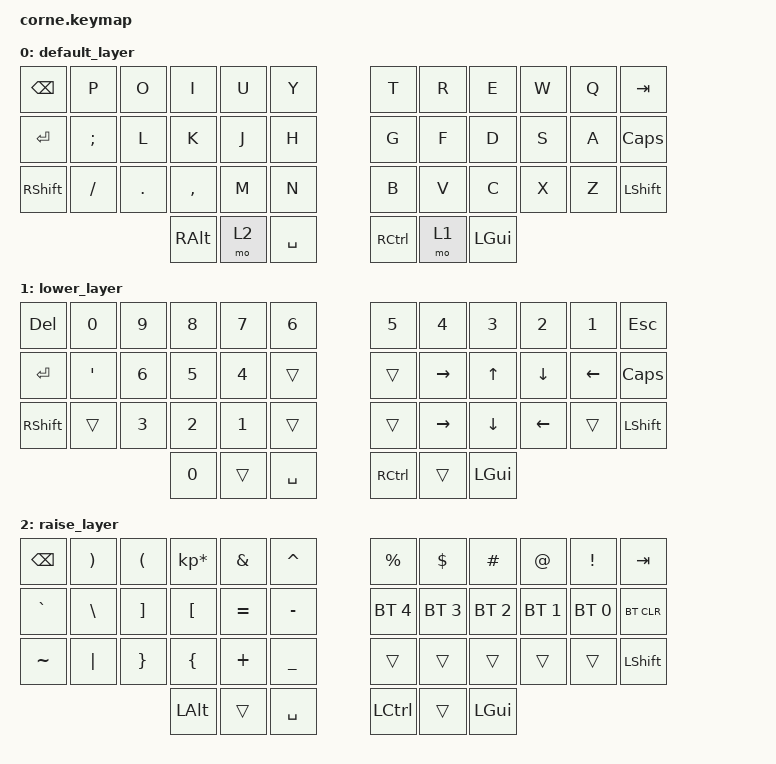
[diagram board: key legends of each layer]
/*
 * Copyright (c) 2020 The ZMK Contributors
 *
 * SPDX-License-Identifier: MIT
 */

#include <behaviors.dtsi>
#include <dt-bindings/zmk/keys.h>
#include <dt-bindings/zmk/bt.h>

/ {
        keymap {
                compatible = "zmk,keymap";

                default_layer {
// -----------------------------------------------------------------------------------------
// |  TAB |  Q  |  W  |  E  |  R  |  T  |   |  Y  |  U   |  I  |  O  |  P  | BKSP |
// | CTRL |  A  |  S  |  D  |  F  |  G  |   |  H  |  J   |  K  |  L  |  ;  |  '   |
// | SHFT |  Z  |  X  |  C  |  V  |  B  |   |  N  |  M   |  ,  |  .  |  /  | ESC  |
//                    | GUI | LWR | SPC |   | ENT | RSE  | ALT |
                        bindings = <
   &kp BSPC  &kp P    &kp O   &kp I     &kp U &kp Y      &kp T     &kp R &kp E &kp W &kp Q &kp TAB
   &kp RET   &kp SEMI &kp L   &kp K     &kp J &kp H      &kp G     &kp F &kp D &kp S &kp A &kp CAPS
   &kp RSHFT &kp FSLH &kp DOT &kp COMMA &kp M &kp N      &kp B     &kp V &kp C &kp X &kp Z &kp LSHFT
                           &kp RALT &mo 2 &kp SPACE      &kp RCTRL &mo 1 &kp LGUI
                        >;
                };
                lower_layer {
// -----------------------------------------------------------------------------------------
// |  TAB |  1  |  2  |  3  |  4  |  5  |   |  6  |  7  |  8  |  9  |  0  | BKSP |
// | BTCLR| BT1 | BT2 | BT3 | BT4 | BT5 |   | LFT | DWN |  UP | RGT |     |      |
// | SHFT |     |     |     |     |     |   |     |     |     |     |     |      |
//                    | GUI |     | SPC |   | ENT |     | ALT |
                        bindings = <
   &kp DEL   &kp N0   &kp N9 &kp N8 &kp N7 &kp N6       &kp N5  &kp N4    &kp N3   &kp N2   &kp N1   &kp ESC
   &kp RET   &kp APOS &kp N6 &kp N5 &kp N4 &trans       &trans  &kp RIGHT &kp UP   &kp DOWN &kp LEFT &kp CAPS
   &kp RSHFT &trans   &kp N3 &kp N2 &kp N1 &trans       &trans  &kp RIGHT &kp DOWN &kp LEFT &trans   &kp LSHFT
                          &kp N0 &trans &kp SPACE       &kp RCTRL &trans &kp LGUI
                        >;
                };
                raise_layer {
// -----------------------------------------------------------------------------------------
// |  TAB |  !  |  @  |  #  |  $  |  %  |   |  ^  |  &  |  *  |  (  |  )  | BKSP |
// | CTRL |     |     |     |     |     |   |  -  |  =  |  [  |  ]  |  \  |  `   |
// | SHFT |     |     |     |     |     |   |  _  |  +  |  {  |  }  | "|" |  ~   |
//                    | GUI |     | SPC |   | ENT |     | ALT |
                        bindings = <
   &kp BSPC  &kp RPAR &kp LPAR &kp KP_MULTIPLY &kp AMPS  &kp CARET     &kp PRCNT    &kp DLLR     &kp HASH     &kp AT       &kp EXCL     &kp TAB
   &kp GRAVE &kp BSLH &kp RBKT &kp LBKT        &kp EQUAL &kp MINUS     &bt BT_SEL 4 &bt BT_SEL 3 &bt BT_SEL 2 &bt BT_SEL 1 &bt BT_SEL 0 &bt BT_CLR
   &kp TILDE &kp PIPE &kp RBRC &kp LBRC        &kp PLUS  &kp UNDER     &trans       &trans       &trans       &trans       &trans       &kp LSHFT
                                        &kp LALT &trans  &kp SPACE     &kp LCTRL &trans &kp LGUI
                        >;
                };
        };
};
